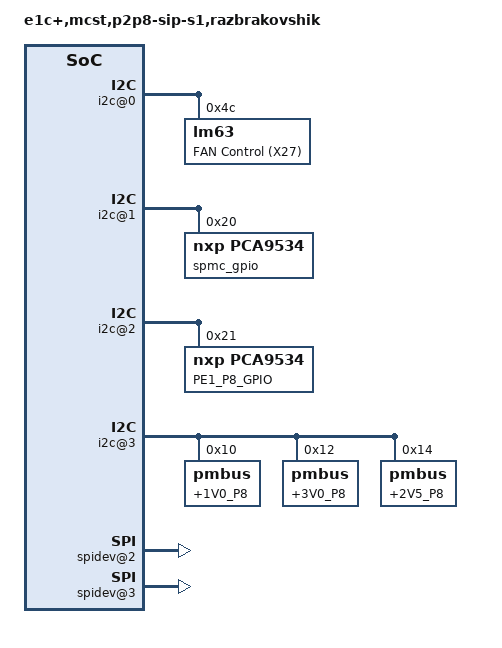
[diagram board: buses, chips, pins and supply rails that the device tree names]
/*
 * P2P8-SIP-S1
 * TVGI.469555.371 ver.1
 * Razbrakovshik
 */
/dts-v1/;

/*#include <dt-bindings/input/input.h>*/

/ {
	/* version = ""; */
	model = "e1c+,mcst,p2p8-sip-s1,razbrakovshik";
	compatible = "mcst,p2p8-sip-s1";
	#address-cells = <1>;
	#size-cells = <0>;

	/* IOHUB2 I2C */
	l_i2c@0 {
		#address-cells = <1>;
		#size-cells = <0>;
		reg = <0>;
		compatible = "l_i2c";
		label = "iohub2 i2c";

		i2c@0 {
			#address-cells = <1>;
			#size-cells = <0>;
			reg = <0>;

			lm96163@4c {
				/* hwmon/lm63.ko (DD75:LM96163CISD) */
				compatible = "lm63";
				reg = <0x4c>;
				label = "FAN Control (X27)";

				temp1_label = "Internal Temp";
				temp2_label = "IOHUB Temp";
			};
		};
		i2c@1 {
			#address-cells = <1>;
			#size-cells = <0>;
			reg = <1>;

			spmc_gpio:pca9534@20 {
				/* gpio/gpio-pca953x.ko (DD74:PCA9534PW) */
				compatible = "nxp,pca9534";
				reg = <0x20>;
				label = "spmc_gpio";
				gpio-controller;
				ngpios = <8>;
				#gpio-cells = <2>;
				gpio-line-names =
					"SPMC_BATLOW_3V3#",
					"SPMC_AC_PWR_PRSNT_3V3",
					"none",
					"none",
					"none",
					"none",
					"none",
					"none";
			};
		};
		i2c@2 {
			#address-cells = <1>;
			#size-cells = <0>;
			reg = <2>;

			pe1_p8_gpio:pca9534@21 {
				/* gpio/gpio-pca953x.ko (DD112:PCA9534PW) */
				compatible = "nxp,pca9534";
				reg = <0x21>;
				label = "PE1_P8_GPIO";
				gpio-controller;
				ngpios = <8>;
				#gpio-cells = <2>;
				gpio-line-names =
					"CTRL_PE1_PRSNT0#",
					"CTRL_PE1_PRSNT1#",
					"CTRL_PE1_PRSNT2#",
					"CTRL_PE1_PRSNT3#",
					"CTRL_PCIE_X1_1_CONNECT",
					"CTRL_PCIE_X1_23_CONNECT",
					"none",
					"none";
			};
		};
		i2c@3 {
			#address-cells = <1>;
			#size-cells = <0>;
			reg = <3>;

			/* config SENSORS_PMBUS */
			pdt012@10 {
				/* hwmon/pmbus/pmbus.ko (DA16:PDT012A0X3) */
				compatible = "pmbus";
				reg = <0x10>;
				label = "+1V0_P8";
			};
			pdt012@12 {
				/* hwmon/pmbus/pmbus.ko (DA33:PDT012A0X3) */
				compatible = "pmbus";
				reg = <0x12>;
				label = "+3V0_P8";
			};
			pdt012@14 {
				/* hwmon/pmbus/pmbus.ko (DA15:PDT012A0X3) */
				compatible = "pmbus";
				reg = <0x14>;
				label = "+2V5_P8";
			};
		};
	};

	/* PMBUS I2C */
	pmc_i2c {
		#address-cells = <1>;
		#size-cells = <0>;
		compatible = "pmc_i2c";
		label = "pmbus i2c";

		/* config SENSORS_PMBUS */
		pdt012@10 {
			/* hwmon/pmbus/pmbus.ko (DA7:PDT012A0X3) */
			compatible = "pmbus";
			reg = <0x10>;
			label = "+0V9_NB";
		};
		pdt012@11 {
			/* hwmon/pmbus/pmbus.ko (DA8:PDT012A0X3) */
			compatible = "pmbus";
			reg = <0x11>;
			label = "+PWR_3D";
		};
		pdt012@12 {
			/* hwmon/pmbus/pmbus.ko (DA9:PDT012A0X3) */
			compatible = "pmbus";
			reg = <0x12>;
			label = "+PWR_CORE";
		};
		udt020@13 {
			/* hwmon/pmbus/pmbus.ko (DA1:UDT020A0X3) */
			compatible = "pmbus";
			reg = <0x13>;
			label = "+PWR_MC";
		};
		pdt012@14 {
			/* hwmon/pmbus/pmbus.ko (DA10:PDT012A0X3) */
			compatible = "pmbus";
			reg = <0x14>;
			label = "+1V8_P2";
		};
	};

	/* IOHUB2 SPI */
	l_spi@0 {
		#address-cells = <1>;
		#size-cells = <0>;
		compatible = "l_spi";
		reg = <0>;
		label = "iohub2 spi";

		boot@0 {
			compatible = "mcst,boot";
			reg = <0>;
			spi-max-frequency = <25000000>;
		};
		rtc-cy14b101p@1 {
			compatible = "rtc-cy14b101p";
			reg = <1>;
			spi-max-frequency = <12500000>;
		};
		spidev@2 {
			compatible = "mcst,boot"; // run spidev wo WARN
			reg = <2>;
			spi-max-frequency = <50000000>;
		};
		spidev@3 {
			compatible = "mcst,boot"; // run spidev wo WARN
			reg = <3>;
			spi-max-frequency = <50000000>;
		};
	};
};
